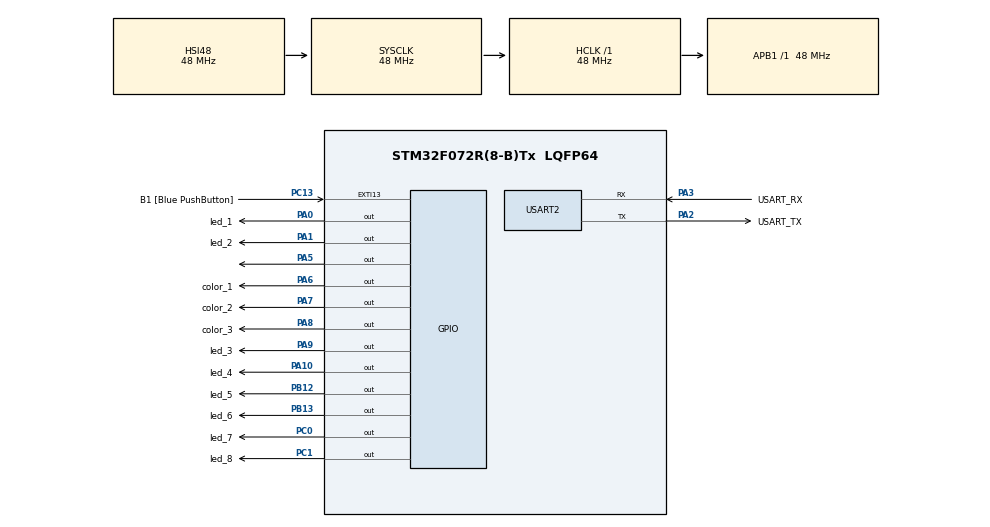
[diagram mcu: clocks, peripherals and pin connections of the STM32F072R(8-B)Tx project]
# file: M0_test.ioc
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Mcu.Family=STM32F0
Mcu.Name=STM32F072R(8-B)Tx
Mcu.Package=LQFP64
PA0.GPIO_Label=led_1
PA0.Signal=GPIO_Output
PA1.GPIO_Label=led_2
PA1.Signal=GPIO_Output
PA10.GPIO_Label=led_4
PA10.Signal=GPIO_Output
PA13.GPIO_Label=TMS
PA13.Mode=Serial_Wire
PA13.Signal=SYS_SWDIO
PA14.GPIO_Label=TCK
PA14.Mode=Serial_Wire
PA14.Signal=SYS_SWCLK
PA2.GPIO_Label=USART_TX
PA2.GPIO_Mode=GPIO_MODE_AF_PP
PA2.GPIO_PuPd=GPIO_NOPULL
PA2.GPIO_Speed=GPIO_SPEED_FREQ_LOW
PA2.Mode=Asynchronous
PA2.Signal=USART2_TX
PA3.GPIO_Label=USART_RX
PA3.GPIO_Mode=GPIO_MODE_AF_PP
PA3.GPIO_PuPd=GPIO_NOPULL
PA3.GPIO_Speed=GPIO_SPEED_FREQ_LOW
PA3.Mode=Asynchronous
PA3.Signal=USART2_RX
PA5.GPIO_Mode=GPIO_MODE_OUTPUT_PP
PA5.GPIO_PuPd=GPIO_NOPULL
PA5.GPIO_Speed=GPIO_SPEED_FREQ_LOW
PA5.Signal=GPIO_Output
PA6.GPIO_Label=color_1
PA6.Signal=GPIO_Output
PA7.GPIO_Label=color_2
PA7.Signal=GPIO_Output
PA8.GPIO_Label=color_3
PA8.Signal=GPIO_Output
PA9.GPIO_Label=led_3
PA9.Signal=GPIO_Output
PB12.GPIO_Label=led_5
PB12.Signal=GPIO_Output
PB13.GPIO_Label=led_6
PB13.Signal=GPIO_Output
PC0.GPIO_Label=led_7
PC0.Signal=GPIO_Output
PC1.GPIO_Label=led_8
PC1.Signal=GPIO_Output
PC13.GPIO_Label=B1 [Blue PushButton]
PC13.GPIO_ModeDefaultEXTI=GPIO_MODE_IT_FALLING
PC13.Signal=GPXTI13
PC14-OSC32_IN.Mode=LSE-External-Oscillator
PC14-OSC32_IN.Signal=RCC_OSC32_IN
PC15-OSC32_OUT.Mode=LSE-External-Oscillator
PC15-OSC32_OUT.Signal=RCC_OSC32_OUT
PF0-OSC_IN.Mode=HSE-External-Clock-Source
PF0-OSC_IN.Signal=RCC_OSC_IN
PF1-OSC_OUT.Signal=RCC_OSC_OUT
ProjectManager.HeapSize=0x200
ProjectManager.StackSize=0x400
ProjectManager.TargetToolchain=MDK-ARM V5.32
RCC.AHBFreq_Value=48000000
RCC.APB1Freq_Value=48000000
RCC.APB1TimFreq_Value=48000000
RCC.FLatency-AdvancedSettings=FLASH_LATENCY_1
RCC.HCLKFreq_Value=48000000
RCC.PLLDivider=RCC_PREDIV_DIV2
RCC.PLLMUL=RCC_PLL_MUL12
RCC.PREFETCH_ENABLE-AdvancedSettings=1
RCC.SYSCLKFreq_VALUE=48000000
RCC.SYSCLKSource=RCC_SYSCLKSOURCE_HSI48
USART2.VirtualMode=VM_ASYNC
USART2.VirtualMode-Asynchronous=VM_ASYNC
board=NUCLEO-F072RB

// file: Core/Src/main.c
/* USER CODE BEGIN Header */
/**
  ******************************************************************************
  * @file           : main.c
  * @brief          : Main program body
  ******************************************************************************
  * @attention
  *
  * Copyright (c) 2026 STMicroelectronics.
  * All rights reserved.
  *
  * This software is licensed under terms that can be found in the LICENSE file
  * in the root directory of this software component.
  * If no LICENSE file comes with this software, it is provided AS-IS.
  *
  ******************************************************************************
  */
/* USER CODE END Header */
#include "main.h"

/* USER CODE BEGIN Includes */
#include <stdio.h>
#include "math_fun.h"
#include "led_control.h"
/* USER CODE END Includes */

UART_HandleTypeDef huart2;

/* USER CODE BEGIN PV */
uint32_t value2;
/* USER CODE END PV */

void SystemClock_Config(void);
static void MX_GPIO_Init(void);
static void MX_USART2_UART_Init(void);

int main(void)
{

  /* MCU Configuration--------------------------------------------------------*/

  /* Reset of all peripherals, Initializes the Flash interface and the Systick. */
  HAL_Init();

  /* Configure the system clock */
  SystemClock_Config();

  /* Initialize all configured peripherals */
  MX_GPIO_Init();
  MX_USART2_UART_Init();
  /* USER CODE BEGIN 2 */
	printf("M0 test\n\r");
	int result;

	result = fun_add(100,200);
	printf("100 + 200 = %d\n\r",result);
	printf("add type = %c\n\r",type);
	printf("\n\r");

	result = fun_mul(100,200);
	printf("100 * 200 = %d\n\r",result);
	printf("mul type = %c\n\r",type);
	printf("\n\r");

	for(int i=0; i<8; i++){
		color_change(i);
		HAL_Delay(500);
	}

  /* USER CODE END 2 */

  /* Infinite loop */
  /* USER CODE BEGIN WHILE */
  while (1)
  {
		led_change(All_ledOn);
		HAL_Delay(1000);
		led_change(All_ledOff);
		HAL_Delay(1000);

		led_change(Odd_ledOn);
		HAL_Delay(1000);
		led_change(All_ledOff);
		led_change(Even_ledOn);
		HAL_Delay(1000);
		led_change(All_ledOff);
		HAL_Delay(1000);

		led_change(Bit_ledOn);
		HAL_Delay(1000);
		led_change(Bit_oneOn);
		HAL_Delay(1000);

    /* USER CODE END WHILE */

  }
}

void SystemClock_Config(void)
{
  RCC_OscInitTypeDef RCC_OscInitStruct = {0};
  RCC_ClkInitTypeDef RCC_ClkInitStruct = {0};
  RCC_PeriphCLKInitTypeDef PeriphClkInit = {0};

  /** Initializes the RCC Oscillators according to the specified parameters
  * in the RCC_OscInitTypeDef structure.
  */
  RCC_OscInitStruct.OscillatorType = RCC_OSCILLATORTYPE_HSI48;
  RCC_OscInitStruct.HSI48State = RCC_HSI48_ON;
  RCC_OscInitStruct.PLL.PLLState = RCC_PLL_NONE;
  if (HAL_RCC_OscConfig(&RCC_OscInitStruct) != HAL_OK)
  {
    Error_Handler();
  }

  /** Initializes the CPU, AHB and APB buses clocks
  */
  RCC_ClkInitStruct.ClockType = RCC_CLOCKTYPE_HCLK|RCC_CLOCKTYPE_SYSCLK
                              |RCC_CLOCKTYPE_PCLK1;
  RCC_ClkInitStruct.SYSCLKSource = RCC_SYSCLKSOURCE_HSI48;
  RCC_ClkInitStruct.AHBCLKDivider = RCC_SYSCLK_DIV1;
  RCC_ClkInitStruct.APB1CLKDivider = RCC_HCLK_DIV1;

  if (HAL_RCC_ClockConfig(&RCC_ClkInitStruct, FLASH_LATENCY_1) != HAL_OK)
  {
    Error_Handler();
  }
  PeriphClkInit.PeriphClockSelection = RCC_PERIPHCLK_USART2;
  PeriphClkInit.Usart2ClockSelection = RCC_USART2CLKSOURCE_PCLK1;
  if (HAL_RCCEx_PeriphCLKConfig(&PeriphClkInit) != HAL_OK)
  {
    Error_Handler();
  }
}

static void MX_USART2_UART_Init(void)
{

  huart2.Instance = USART2;
  huart2.Init.BaudRate = 38400;
  huart2.Init.WordLength = UART_WORDLENGTH_8B;
  huart2.Init.StopBits = UART_STOPBITS_1;
  huart2.Init.Parity = UART_PARITY_NONE;
  huart2.Init.Mode = UART_MODE_TX_RX;
  huart2.Init.HwFlowCtl = UART_HWCONTROL_NONE;
  huart2.Init.OverSampling = UART_OVERSAMPLING_16;
  huart2.Init.OneBitSampling = UART_ONE_BIT_SAMPLE_DISABLE;
  huart2.AdvancedInit.AdvFeatureInit = UART_ADVFEATURE_NO_INIT;
  if (HAL_UART_Init(&huart2) != HAL_OK)
  {
    Error_Handler();
  }

}

static void MX_GPIO_Init(void)
{
  GPIO_InitTypeDef GPIO_InitStruct = {0};

  /* GPIO Ports Clock Enable */
  __HAL_RCC_GPIOC_CLK_ENABLE();
  __HAL_RCC_GPIOF_CLK_ENABLE();
  __HAL_RCC_GPIOA_CLK_ENABLE();
  __HAL_RCC_GPIOB_CLK_ENABLE();

  /*Configure GPIO pin Output Level */
  HAL_GPIO_WritePin(GPIOC, led_7_Pin|led_8_Pin, GPIO_PIN_RESET);

  /*Configure GPIO pin Output Level */
  HAL_GPIO_WritePin(GPIOA, led_1_Pin|led_2_Pin|GPIO_PIN_5|color_1_Pin
                          |color_2_Pin|color_3_Pin|led_3_Pin|led_4_Pin, GPIO_PIN_RESET);

  /*Configure GPIO pin Output Level */
  HAL_GPIO_WritePin(GPIOB, led_5_Pin|led_6_Pin, GPIO_PIN_RESET);

  /*Configure GPIO pin : B1_Pin */
  GPIO_InitStruct.Pin = B1_Pin;
  GPIO_InitStruct.Mode = GPIO_MODE_IT_FALLING;
  GPIO_InitStruct.Pull = GPIO_NOPULL;
  HAL_GPIO_Init(B1_GPIO_Port, &GPIO_InitStruct);

  /*Configure GPIO pins : led_7_Pin led_8_Pin */
  GPIO_InitStruct.Pin = led_7_Pin|led_8_Pin;
  GPIO_InitStruct.Mode = GPIO_MODE_OUTPUT_PP;
  GPIO_InitStruct.Pull = GPIO_NOPULL;
  GPIO_InitStruct.Speed = GPIO_SPEED_FREQ_LOW;
  HAL_GPIO_Init(GPIOC, &GPIO_InitStruct);

  /*Configure GPIO pins : led_1_Pin led_2_Pin PA5 color_1_Pin
                           color_2_Pin color_3_Pin led_3_Pin led_4_Pin */
  GPIO_InitStruct.Pin = led_1_Pin|led_2_Pin|GPIO_PIN_5|color_1_Pin
                          |color_2_Pin|color_3_Pin|led_3_Pin|led_4_Pin;
  GPIO_InitStruct.Mode = GPIO_MODE_OUTPUT_PP;
  GPIO_InitStruct.Pull = GPIO_NOPULL;
  GPIO_InitStruct.Speed = GPIO_SPEED_FREQ_LOW;
  HAL_GPIO_Init(GPIOA, &GPIO_InitStruct);

  /*Configure GPIO pins : led_5_Pin led_6_Pin */
  GPIO_InitStruct.Pin = led_5_Pin|led_6_Pin;
  GPIO_InitStruct.Mode = GPIO_MODE_OUTPUT_PP;
  GPIO_InitStruct.Pull = GPIO_NOPULL;
  GPIO_InitStruct.Speed = GPIO_SPEED_FREQ_LOW;
  HAL_GPIO_Init(GPIOB, &GPIO_InitStruct);

}

void Error_Handler(void)
{
  __disable_irq();
  while (1)
  {
  }
}
